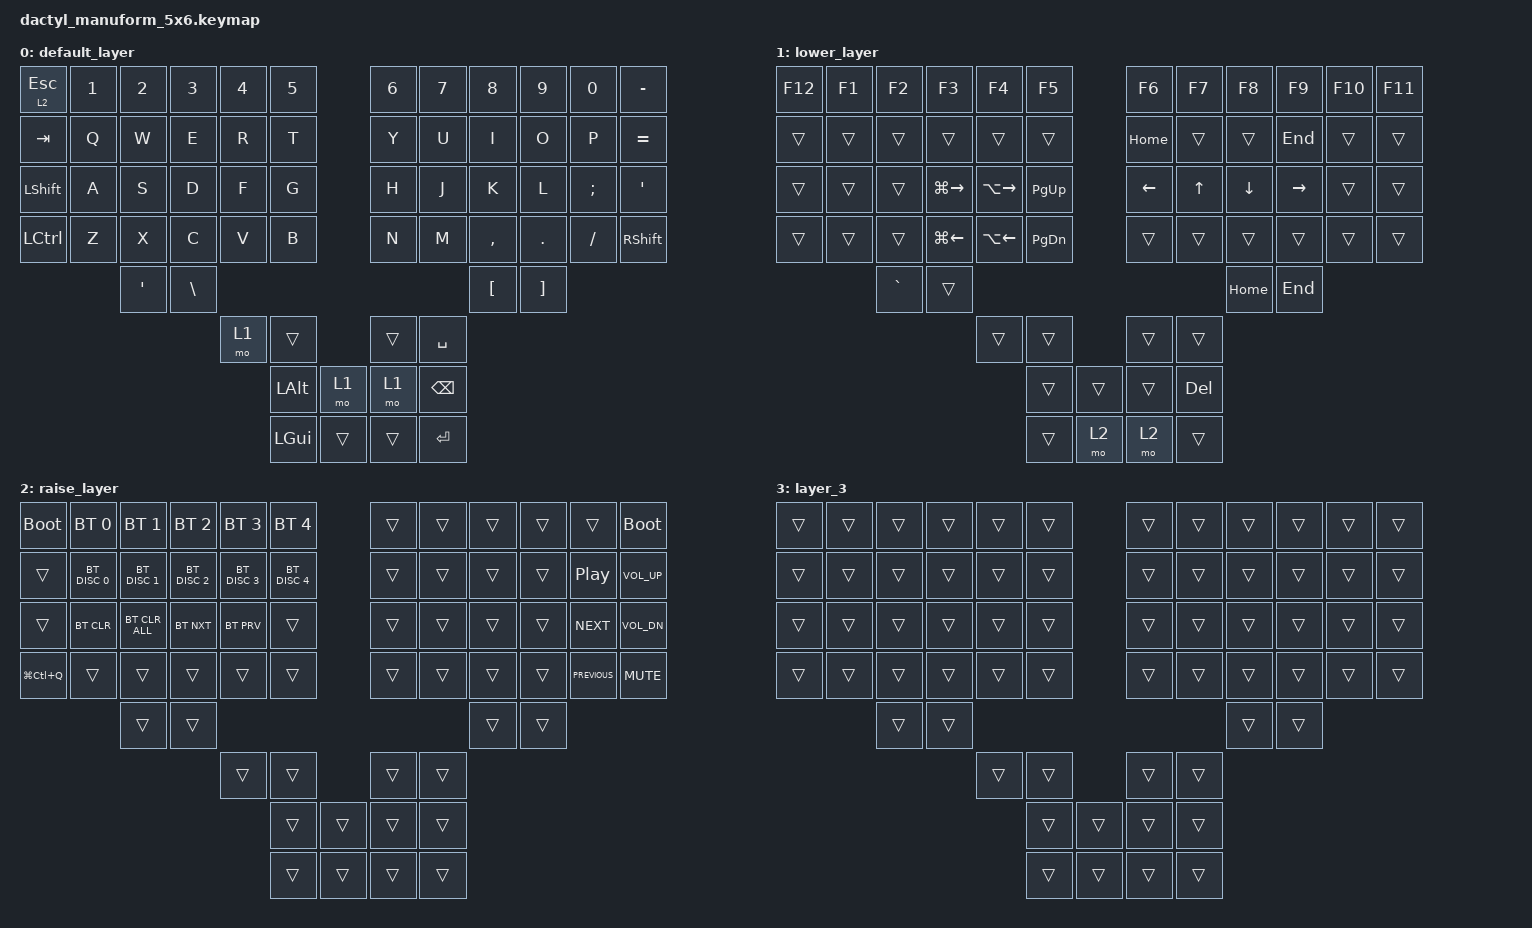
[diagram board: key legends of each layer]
#include <behaviors.dtsi>
#include <dt-bindings/zmk/bt.h>
#include <dt-bindings/zmk/keys.h>

#define DEFAULT 0
#define LWR 1
#define RSE 2
#define ADJ 3

/ {
    behaviors {
        F2_F5: F2_F5 {
            compatible = "zmk,behavior-tap-dance";
            label = "F2_F5";
            #binding-cells = <0>;
            bindings = <&kp F2>, <&kp F5>;
        };

        Bracket: Bracket {
            compatible = "zmk,behavior-tap-dance";
            label = "BRACKET";
            #binding-cells = <0>;
            bindings = <&kp LBKT>, <&kp RBKT>;
        };

        DMP: DMP {
            compatible = "zmk,behavior-tap-dance";
            label = "DMP";
            #binding-cells = <0>;
            bindings = <&kp C_VOL_DN>, <&kp C_MUTE>, <&kp C_PREVIOUS>;
        };

        UPN: UPN {
            compatible = "zmk,behavior-tap-dance";
            label = "UPN";
            #binding-cells = <0>;
            bindings = <&kp C_VOLUME_UP>, <&kp C_PLAY_PAUSE>, <&kp C_NEXT>;
        };

        BSLH_GRV: BSLH_GRV {
            compatible = "zmk,behavior-tap-dance";
            label = "BSLH_GRV";
            #binding-cells = <0>;
            bindings = <&kp BSLH>, <&kp GRAVE>;
        };
    };

    combos { compatible = "zmk,combos"; };

    keymap {
        compatible = "zmk,keymap";

        default_layer {
            bindings = <
&lt 2 ESC  &kp N1  &kp N2            &kp N3         &kp N4  &kp N5                        &kp N6         &kp N7     &kp N8            &kp N9             &kp N0     &kp MINUS
&kp TAB    &kp Q   &kp W             &kp E          &kp R   &kp T                         &kp Y          &kp U      &kp I             &kp O              &kp P      &kp EQUAL
&kp LSHFT  &kp A   &kp S             &kp D          &kp F   &kp G                         &kp H          &kp J      &kp K             &kp L              &kp SEMI   &kp APOSTROPHE
&kp LCTRL  &kp Z   &kp X             &kp C          &kp V   &kp B                         &kp N          &kp M      &kp COMMA         &kp DOT            &kp SLASH  &kp RIGHT_SHIFT
                   &kp SINGLE_QUOTE  &kp BACKSLASH                                                                  &kp LEFT_BRACKET  &kp RIGHT_BRACKET
                                                    &mo 1   &trans                        &trans         &kp SPACE
                                                            &kp LEFT_ALT  &mo 1   &mo 1   &kp BACKSPACE
                                                            &kp LGUI      &trans  &trans  &kp ENTER
            >;
        };

        lower_layer {
            bindings = <
&kp F12  &kp F1  &kp F2     &kp F3         &kp F4         &kp F5                         &kp F6          &kp F7        &kp F8          &kp F9           &kp F10  &kp F11
&trans   &trans  &trans     &trans         &trans         &trans                         &kp HOME        &trans        &trans          &kp END          &trans   &trans
&trans   &trans  &trans     &kp LG(RIGHT)  &kp LA(RIGHT)  &kp PAGE_UP                    &kp LEFT_ARROW  &kp UP_ARROW  &kp DOWN_ARROW  &kp RIGHT_ARROW  &trans   &trans
&trans   &trans  &trans     &kp LG(LEFT)   &kp LA(LEFT)   &kp PAGE_DOWN                  &trans          &trans        &trans          &trans           &trans   &trans
                 &kp GRAVE  &trans                                                                                     &kp HOME        &kp END
                                           &trans         &trans                         &trans          &trans
                                                          &trans         &trans  &trans  &kp DELETE
                                                          &trans         &mo 2   &mo 2   &trans
            >;
        };

        raise_layer {
            bindings = <
&bootloader    &bt BT_SEL 0   &bt BT_SEL 1    &bt BT_SEL 2   &bt BT_SEL 3   &bt BT_SEL 4                   &trans  &trans  &trans  &trans  &trans            &bootloader
&trans         &bt BT_DISC 0  &bt BT_DISC 1   &bt BT_DISC 2  &bt BT_DISC 3  &bt BT_DISC 4                  &trans  &trans  &trans  &trans  &kp C_PLAY_PAUSE  &kp K_VOL_UP
&trans         &bt BT_CLR     &bt BT_CLR_ALL  &bt BT_NXT     &bt BT_PRV     &trans                         &trans  &trans  &trans  &trans  &kp C_NEXT        &kp K_VOL_DN
&kp LG(LC(Q))  &trans         &trans          &trans         &trans         &trans                         &trans  &trans  &trans  &trans  &kp C_PREVIOUS    &kp K_MUTE
                              &trans          &trans                                                                       &trans  &trans
                                                             &trans         &trans                         &trans  &trans
                                                                            &trans         &trans  &trans  &trans
                                                                            &trans         &trans  &trans  &trans
            >;
        };

        layer_3 {
            bindings = <
&trans  &trans  &trans  &trans  &trans  &trans                  &trans  &trans  &trans  &trans  &trans  &trans
&trans  &trans  &trans  &trans  &trans  &trans                  &trans  &trans  &trans  &trans  &trans  &trans
&trans  &trans  &trans  &trans  &trans  &trans                  &trans  &trans  &trans  &trans  &trans  &trans
&trans  &trans  &trans  &trans  &trans  &trans                  &trans  &trans  &trans  &trans  &trans  &trans
                &trans  &trans                                                  &trans  &trans
                                &trans  &trans                  &trans  &trans
                                        &trans  &trans  &trans  &trans
                                        &trans  &trans  &trans  &trans
            >;
        };
    };
};
